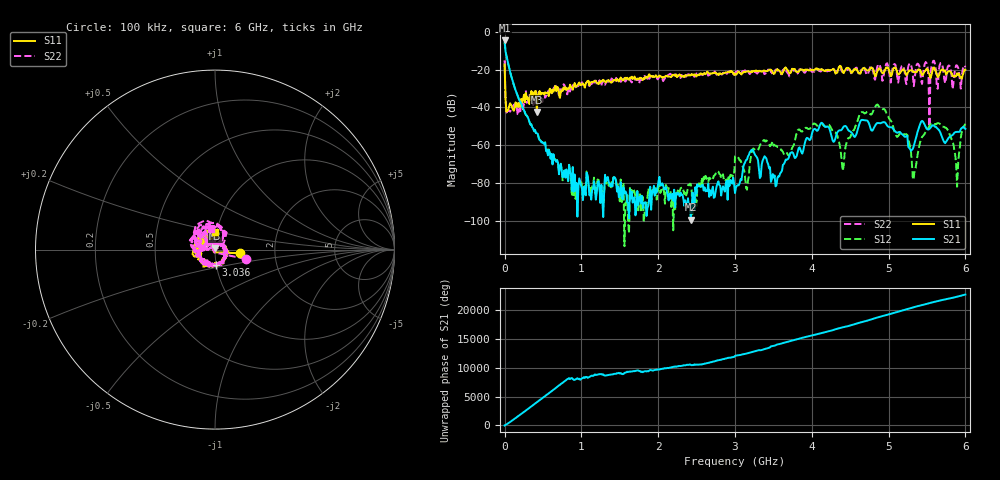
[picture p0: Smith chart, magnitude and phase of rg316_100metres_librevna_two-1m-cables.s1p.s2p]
# GHZ S DB R 50.000000000000
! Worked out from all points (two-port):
!   501 points, 100 kHz to 6 GHz, reference 50 ohm
!   highest |S21| = -4.44 dB at 100 kHz (marker M1); lowest = -99.6 dB at 2.424 GHz (marker M2)
!   |S21| within 3 dB of the highest: start of sweep to 6.291 MHz
!   lowest |S11| = -42.4 dB at 420.1 MHz (marker M3), VSWR 1.02, Z = 49.9 + j0.746 ohm
!   |S11| at or under -10 dB: start of sweep to end of sweep
!   |S22| runs from -50.2 to -14.9 dB; largest |S21 - S12| = 0.12
!   S11 on the Smith chart (normalised r, x): 100 kHz: 1.32, -0.05; 3.036 GHz: 1.00, -0.18; 6 GHz: 0.98, +0.20
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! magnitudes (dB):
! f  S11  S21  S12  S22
! 100 kHz  -17.2  -4.4  -5.4  -14.9
! 48.1 MHz  -41.3  -17.0  -17.0  -41.7
! 420.1 MHz  -42.4  -53.7  -53.6  -37.1
! 1.008 GHz  -27.6  -83.3  -81.9  -26.6
! 2.004 GHz  -23.7  -79.2  -82.2  -24.5
! 2.424 GHz  -22.9  -99.6  -80.6  -22.2
! 3 GHz  -22.0  -85.4  -66.1  -21.7
! 3.036 GHz  -21.2  -81.2  -66.1  -20.6
! 3.156 GHz  -20.9  -67.6  -83.7  -21.5
! 3.24 GHz  -20.6  -63.2  -61.8  -21.5
! 3.552 GHz  -19.7  -77.4  -61.0  -19.9
! 4.008 GHz  -20.1  -53.0  -49.4  -21.1
! 4.236 GHz  -20.3  -52.1  -49.9  -20.6
! 4.404 GHz  -21.4  -50.8  -73.7  -21.2
! 4.644 GHz  -20.7  -46.7  -42.6  -20.1
! 5.004 GHz  -19.9  -50.3  -45.7  -20.0
! 5.244 GHz  -22.2  -54.9  -54.6  -21.5
! 5.328 GHz  -21.2  -60.5  -77.2  -28.7
! 5.568 GHz  -21.0  -49.6  -48.5  -17.3
! 5.772 GHz  -21.1  -56.7  -52.1  -18.2
! 5.892 GHz  -21.8  -53.0  -82.1  -17.7
! 6 GHz  -20.0  -51.4  -48.7  -18.6
